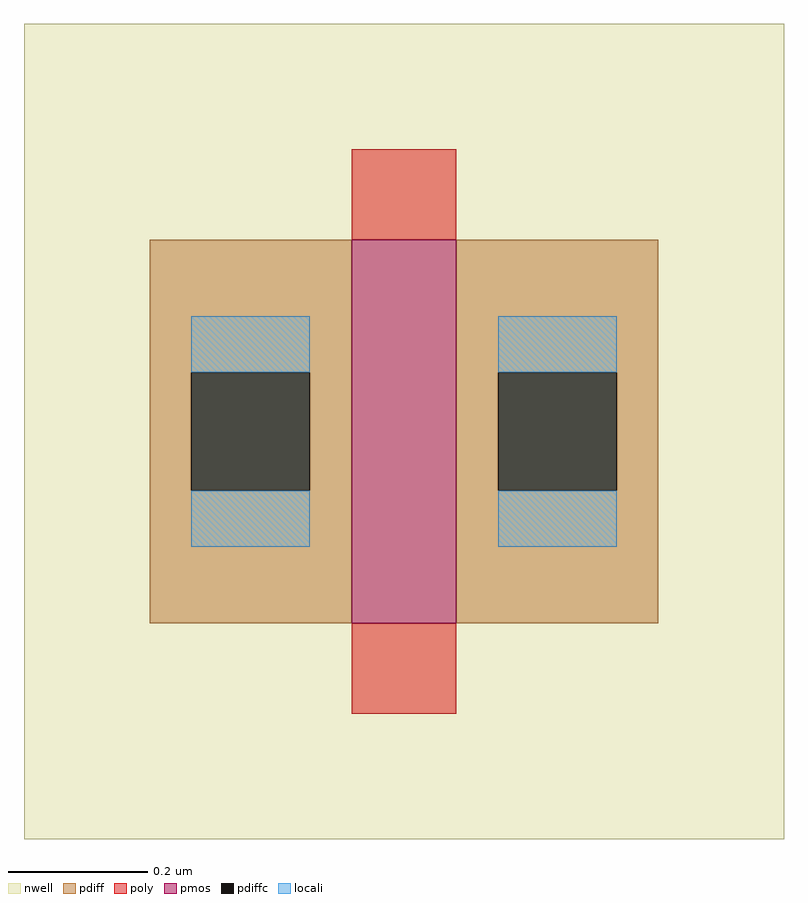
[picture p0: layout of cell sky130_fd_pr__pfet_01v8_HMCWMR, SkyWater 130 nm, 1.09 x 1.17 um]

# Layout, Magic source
magic
tech sky130A
magscale 1 2
<< nwell >>
rect -109 -117 109 117
<< pmos >>
rect -15 -55 15 55
<< pdiff >>
rect -73 17 -15 55
rect -73 -17 -61 17
rect -27 -17 -15 17
rect -73 -55 -15 -17
rect 15 17 73 55
rect 15 -17 27 17
rect 61 -17 73 17
rect 15 -55 73 -17
<< pdiffc >>
rect -61 -17 -27 17
rect 27 -17 61 17
<< poly >>
rect -15 55 15 81
rect -15 -81 15 -55
<< locali >>
rect -61 17 -27 33
rect -61 -33 -27 -17
rect 27 17 61 33
rect 27 -33 61 -17
<< properties >>
string gencell sky130_fd_pr__pfet_01v8
string parameters w 0.55 l 0.15 m 1 nf 1 diffcov 20 polycov 20 guard 0 glc 0 grc 0 gtc 0 gbc 0 tbcov 0 rlcov 0 topc 0 botc 0 poverlap 0 doverlap 0 lmin 0.15 wmin 0.42 compatible {sky130_fd_pr__pfet_01v8  sky130_fd_pr__pfet_01v8_lvt sky130_fd_pr__pfet_01v8_hvt  sky130_fd_pr__pfet_g5v0d10v5} full_metal 0 viagl 0 viagr 0 viagt 0 viagb 0 viagate 0 viadrn 0 viasrc 0
string library sky130
<< end >>
